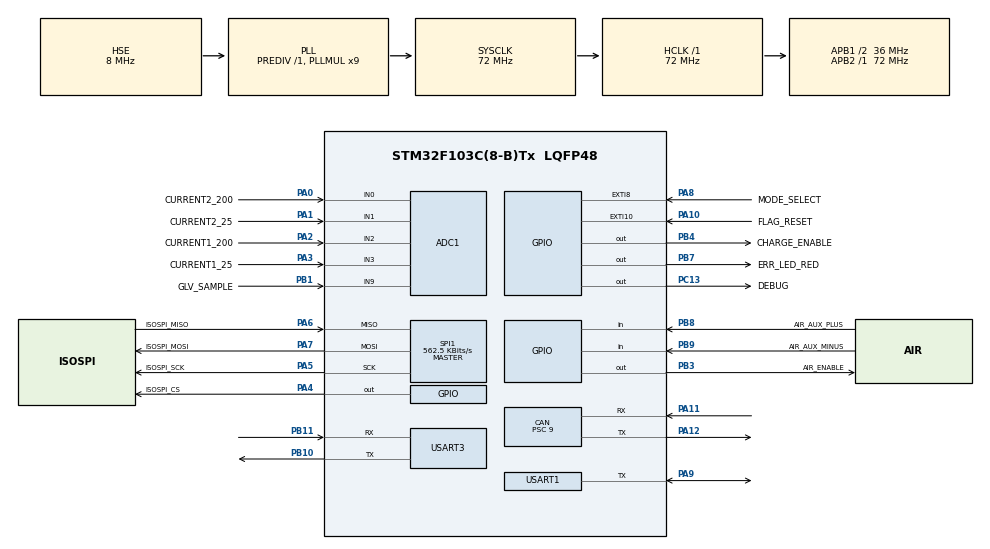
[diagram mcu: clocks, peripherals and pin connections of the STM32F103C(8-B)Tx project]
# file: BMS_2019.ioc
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ADC1.Channel-10\#ChannelRegularConversion=ADC_CHANNEL_0
ADC1.Channel-11\#ChannelRegularConversion=ADC_CHANNEL_1
ADC1.Channel-12\#ChannelRegularConversion=ADC_CHANNEL_2
ADC1.Channel-13\#ChannelRegularConversion=ADC_CHANNEL_3
ADC1.Channel-14\#ChannelRegularConversion=ADC_CHANNEL_9
ADC1.ContinuousConvMode=ENABLE
ADC1.DataAlign=ADC_DATAALIGN_RIGHT
ADC1.DiscontinuousConvMode=DISABLE
ADC1.EnableAnalogWatchDog=false
ADC1.EnableRegularConversion=ENABLE
ADC1.ExternalTrigConv=ADC_SOFTWARE_START
ADC1.InjNumberOfConversion=0
ADC1.NbrOfConversion=5
ADC1.NbrOfConversionFlag=1
ADC1.Rank-10\#ChannelRegularConversion=1
ADC1.Rank-11\#ChannelRegularConversion=2
ADC1.Rank-12\#ChannelRegularConversion=3
ADC1.Rank-13\#ChannelRegularConversion=4
ADC1.Rank-14\#ChannelRegularConversion=5
ADC1.SamplingTime-10\#ChannelRegularConversion=ADC_SAMPLETIME_239CYCLES_5
ADC1.SamplingTime-11\#ChannelRegularConversion=ADC_SAMPLETIME_239CYCLES_5
ADC1.SamplingTime-12\#ChannelRegularConversion=ADC_SAMPLETIME_239CYCLES_5
ADC1.SamplingTime-13\#ChannelRegularConversion=ADC_SAMPLETIME_239CYCLES_5
ADC1.SamplingTime-14\#ChannelRegularConversion=ADC_SAMPLETIME_239CYCLES_5
ADC1.ScanConvMode=ADC_SCAN_ENABLE
ADC1.master=1
CAN.ABOM=ENABLE
CAN.BS1=CAN_BS1_6TQ
CAN.CalculateTimeBit=2000
CAN.CalculateTimeQuantum=250.0
CAN.Prescaler=9
CAN.SJW=CAN_SJW_1TQ
Dma.ADC1.1.Direction=DMA_PERIPH_TO_MEMORY
Dma.ADC1.1.Instance=DMA1_Channel1
Dma.ADC1.1.MemDataAlignment=DMA_MDATAALIGN_WORD
Dma.ADC1.1.MemInc=DMA_MINC_ENABLE
Dma.ADC1.1.Mode=DMA_CIRCULAR
Dma.ADC1.1.PeriphDataAlignment=DMA_PDATAALIGN_WORD
Dma.ADC1.1.PeriphInc=DMA_PINC_DISABLE
Dma.ADC1.1.Priority=DMA_PRIORITY_VERY_HIGH
Dma.Request0=USART3_RX
Dma.Request1=ADC1
Dma.USART3_RX.0.Direction=DMA_PERIPH_TO_MEMORY
Dma.USART3_RX.0.Instance=DMA1_Channel3
Dma.USART3_RX.0.MemDataAlignment=DMA_MDATAALIGN_BYTE
Dma.USART3_RX.0.MemInc=DMA_MINC_ENABLE
Dma.USART3_RX.0.Mode=DMA_CIRCULAR
Dma.USART3_RX.0.PeriphDataAlignment=DMA_PDATAALIGN_BYTE
Dma.USART3_RX.0.PeriphInc=DMA_PINC_DISABLE
Dma.USART3_RX.0.Priority=DMA_PRIORITY_LOW
Mcu.Family=STM32F1
Mcu.Name=STM32F103C(8-B)Tx
Mcu.Package=LQFP48
Mcu.UserConstants=__DLC__,8
NVIC.ADC1_2_IRQn=true\:1\:0\:true\:false\:true\:true
NVIC.DMA1_Channel1_IRQn=true\:0\:0\:false\:false\:true\:false
NVIC.DMA1_Channel3_IRQn=true\:0\:0\:false\:false\:true\:false
NVIC.EXTI15_10_IRQn=true\:0\:0\:false\:false\:true\:true
NVIC.EXTI9_5_IRQn=true\:0\:0\:false\:false\:true\:true
NVIC.PriorityGroup=NVIC_PRIORITYGROUP_4
NVIC.TIM3_IRQn=true\:0\:0\:false\:false\:true\:true
NVIC.TIM4_IRQn=true\:0\:0\:false\:false\:true\:true
NVIC.USART3_IRQn=true\:0\:0\:false\:false\:true\:true
NVIC.USB_HP_CAN1_TX_IRQn=true\:0\:0\:false\:false\:true\:true
NVIC.USB_LP_CAN1_RX0_IRQn=true\:0\:0\:false\:false\:true\:true
PA0-WKUP.GPIO_Label=CURRENT2_200
PA0-WKUP.Signal=ADCx_IN0
PA1.GPIO_Label=CURRENT2_25
PA1.Signal=ADCx_IN1
PA10.GPIO_Label=FLAG_RESET
PA10.Signal=GPXTI10
PA11.Mode=Master
PA11.Signal=CAN_RX
PA12.Mode=Master
PA12.Signal=CAN_TX
PA13.Mode=Serial_Wire
PA13.Signal=SYS_JTMS-SWDIO
PA14.Mode=Serial_Wire
PA14.Signal=SYS_JTCK-SWCLK
PA2.GPIO_Label=CURRENT1_200
PA2.Signal=ADCx_IN2
PA3.GPIO_Label=CURRENT1_25
PA3.Signal=ADCx_IN3
PA4.GPIO_Label=ISOSPI_CS
PA4.GPIO_ModeDefaultOutputPP=GPIO_MODE_OUTPUT_PP
PA4.GPIO_Speed=GPIO_SPEED_FREQ_LOW
PA4.PinState=GPIO_PIN_RESET
PA4.Signal=GPIO_Output
PA5.GPIO_Label=ISOSPI_SCK
PA5.Mode=Full_Duplex_Master
PA5.Signal=SPI1_SCK
PA6.GPIO_Label=ISOSPI_MISO
PA6.GPIO_PuPd=GPIO_NOPULL
PA6.Mode=Full_Duplex_Master
PA6.Signal=SPI1_MISO
PA7.GPIO_Label=ISOSPI_MOSI
PA7.Mode=Full_Duplex_Master
PA7.Signal=SPI1_MOSI
PA8.GPIO_Label=MODE_SELECT
PA8.Signal=GPXTI8
PA9.Mode=Half_duplex(single_wire_mode)
PA9.Signal=USART1_TX
PB1.GPIO_Label=GLV_SAMPLE
PB1.Signal=ADCx_IN9
PB10.Mode=Asynchronous
PB10.Signal=USART3_TX
PB11.Mode=Asynchronous
PB11.Signal=USART3_RX
PB3.GPIO_Label=AIR_ENABLE
PB3.Signal=GPIO_Output
PB4.GPIO_Label=CHARGE_ENABLE
PB4.Signal=GPIO_Output
PB7.GPIO_Label=ERR_LED_RED
PB7.Signal=GPIO_Output
PB8.GPIO_Label=AIR_AUX_PLUS
PB8.Signal=GPIO_Input
PB9.GPIO_Label=AIR_AUX_MINUS
PB9.Signal=GPIO_Input
PC13-TAMPER-RTC.GPIO_Label=DEBUG
PC13-TAMPER-RTC.Signal=GPIO_Output
PD0-OSC_IN.GPIO_Label=OSCI
PD0-OSC_IN.Mode=HSE-External-Oscillator
PD0-OSC_IN.Signal=RCC_OSC_IN
PD1-OSC_OUT.GPIO_Label=OSCO
PD1-OSC_OUT.Mode=HSE-External-Oscillator
PD1-OSC_OUT.Signal=RCC_OSC_OUT
ProjectManager.HeapSize=0x200
ProjectManager.StackSize=0x400
ProjectManager.TargetToolchain=SW4STM32
RCC.ADCPresc=RCC_ADCPCLK2_DIV6
RCC.AHBFreq_Value=72000000
RCC.APB1CLKDivider=RCC_HCLK_DIV2
RCC.APB1Freq_Value=36000000
RCC.APB1TimFreq_Value=72000000
RCC.APB2Freq_Value=72000000
RCC.APB2TimFreq_Value=72000000
RCC.HCLKFreq_Value=72000000
RCC.PLLMUL=RCC_PLL_MUL9
RCC.PLLSourceVirtual=RCC_PLLSOURCE_HSE
RCC.SYSCLKFreq_VALUE=72000000
RCC.SYSCLKSource=RCC_SYSCLKSOURCE_PLLCLK
RCC.USBFreq_Value=72000000
SH.ADCx_IN0.0=ADC2_IN0
SH.ADCx_IN0.1=ADC1_IN0,IN0
SH.ADCx_IN1.0=ADC2_IN1
SH.ADCx_IN1.1=ADC1_IN1,IN1
SH.ADCx_IN2.0=ADC1_IN2,IN2
SH.ADCx_IN3.0=ADC1_IN3,IN3
SH.ADCx_IN9.0=ADC1_IN9,IN9
SPI1.BaudRatePrescaler=SPI_BAUDRATEPRESCALER_128
SPI1.CalculateBaudRate=562.5 KBits/s
SPI1.DataSize=SPI_DATASIZE_16BIT
SPI1.Direction=SPI_DIRECTION_2LINES
SPI1.Mode=SPI_MODE_MASTER
SPI1.VirtualType=VM_MASTER
TIM3.Period=5000
TIM3.Prescaler=7200
TIM4.Period=100
TIM4.Prescaler=720
USART1.VirtualMode=VM_ASYNC
USART3.VirtualMode=VM_ASYNC
VP_TIM3_VS_ClockSourceINT.Mode=Internal
VP_TIM4_VS_ClockSourceINT.Mode=Internal
board=BMS_2018

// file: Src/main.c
/**
  ******************************************************************************
  * @file           : main.c
  * @brief          : Main program body
  ******************************************************************************
  ** This notice applies to any and all portions of this file
  * that are not between comment pairs USER CODE BEGIN and
  * USER CODE END. Other portions of this file, whether
  * inserted by the user or by software development tools
  * are owned by their respective copyright owners.
  *
  * COPYRIGHT(c) 2019 STMicroelectronics
  *
  * Redistribution and use in source and binary forms, with or without modification,
  * are permitted provided that the following conditions are met:
  *   1. Redistributions of source code must retain the above copyright notice,
  *      this list of conditions and the following disclaimer.
  *   2. Redistributions in binary form must reproduce the above copyright notice,
  *      this list of conditions and the following disclaimer in the documentation
  *      and/or other materials provided with the distribution.
  *   3. Neither the name of STMicroelectronics nor the names of its contributors
  *      may be used to endorse or promote products derived from this software
  *      without specific prior written permission.
  *
  * THIS SOFTWARE IS PROVIDED BY THE COPYRIGHT HOLDERS AND CONTRIBUTORS "AS IS"
  * AND ANY EXPRESS OR IMPLIED WARRANTIES, INCLUDING, BUT NOT LIMITED TO, THE
  * IMPLIED WARRANTIES OF MERCHANTABILITY AND FITNESS FOR A PARTICULAR PURPOSE ARE
  * DISCLAIMED. IN NO EVENT SHALL THE COPYRIGHT HOLDER OR CONTRIBUTORS BE LIABLE
  * FOR ANY DIRECT, INDIRECT, INCIDENTAL, SPECIAL, EXEMPLARY, OR CONSEQUENTIAL
  * DAMAGES (INCLUDING, BUT NOT LIMITED TO, PROCUREMENT OF SUBSTITUTE GOODS OR
  * SERVICES; LOSS OF USE, DATA, OR PROFITS; OR BUSINESS INTERRUPTION) HOWEVER
  * CAUSED AND ON ANY THEORY OF LIABILITY, WHETHER IN CONTRACT, STRICT LIABILITY,
  * OR TORT (INCLUDING NEGLIGENCE OR OTHERWISE) ARISING IN ANY WAY OUT OF THE USE
  * OF THIS SOFTWARE, EVEN IF ADVISED OF THE POSSIBILITY OF SUCH DAMAGE.
  *
  ******************************************************************************
  */
#include "main.h"
#include "stm32f1xx_hal.h"
#include "adc.h"
#include "can.h"
#include "dma.h"
#include "spi.h"
#include "tim.h"
#include "usart.h"
#include "gpio.h"

/* USER CODE BEGIN Includes */

#include "stm32f1xx_hal.h"
#include "BMS.h"
#include <stdlib.h>
#include "dwt_stm32_delay.h"
#include "eeprom.h"
#include "nextion.h"
#include "DMA_USART.h"
#include "nextion_functions.h"

/* USER CODE END Includes */

/* USER CODE BEGIN PV */
/* Private variables ---------------------------------------------------------*/

//static float CURRENT_ZERO[4] = {2250, 2990, 2396, 2396};
//static const float CURRENT_GAIN[4] = {1.22, 1.52, 1.22, 1.22};
static float CURRENT_ZERO[4] = {2223, 2750, 2223, 2227};
static const float CURRENT_GAIN[4] = {1.22, 1.51, 1.22, 1.22};
ErrorStatus  HSEStartUpStatus;
HAL_StatusTypeDef FlashStatus;

BMS_struct* BMS;
int32_t ADC_BUF[5];
uint32_t adc_time;
uint8_t mode_button = 0, debounce_flag, accept_flag, accept_time, debounce_time, mode;
uint16_t VirtAddVarTab[NumbOfVar] = {0x5555, 0x6666, 0x7777};

extern DMA_HandleTypeDef hdma_usart3_rx;

/* USER CODE END PV */

void SystemClock_Config(void);

/* USER CODE BEGIN PFP */
/* Private function prototypes -----------------------------------------------*/

/* USER CODE END PFP */

/* USER CODE BEGIN 0 */

#define FILTER_GAIN 255

int aux = 0;

float filter(float old, float new){
	return (FILTER_GAIN * old + new) / (FILTER_GAIN + 1);
}

void HAL_ADC_ConvCpltCallback(ADC_HandleTypeDef * hadc)
{

	for(uint8_t i = 0; i < 4; i++){

		//CURRENT_ZERO[i] = ((float)ADC_BUF[i] * (float)CURRENT_GAIN[i]);

		BMS->c_adc[i] = filter((float)BMS->c_adc[i], (float)ADC_BUF[i]);

		BMS->current[i] = filter(BMS->current[i], ((float)ADC_BUF[i] * CURRENT_GAIN[i]) - CURRENT_ZERO[i]);//		BMS->current[i] = filter(BMS->current[i], (ADC_BUF[i]));

	}
	BMS->v_GLV = filter(BMS->v_GLV , ((float)(ADC_BUF[4] + 400) * 4.5));

}

/* USER CODE END 0 */

int main(void)
{

  /* MCU Configuration----------------------------------------------------------*/

  /* Reset of all peripherals, Initializes the Flash interface and the Systick. */
  HAL_Init();

  /* Configure the system clock */
  SystemClock_Config();

  /* Initialize all configured peripherals */
  MX_GPIO_Init();
  MX_DMA_Init();
  MX_ADC1_Init();
  MX_CAN_Init();
  MX_SPI1_Init();
  MX_TIM3_Init();
  MX_USART1_UART_Init();
  MX_TIM4_Init();
  MX_USART3_UART_Init();
  /* USER CODE BEGIN 2 */

	HAL_FLASH_Unlock();
	EE_Init();

	DWT_Delay_Init();

	HAL_ADC_Start_DMA(&hadc1, (uint32_t* )ADC_BUF, 5);
	USART_DMA_Init(&huart3, &hdma_usart3_rx);

	HAL_TIM_Base_Start_IT(&htim3);
	HAL_TIM_Base_Start_IT(&htim4);

	BMS = (BMS_struct*) calloc(1, sizeof(BMS_struct));
	BMS_init(BMS);

	DWT_Delay_us(50000);

	HAL_GPIO_WritePin(CHARGE_ENABLE_GPIO_Port, CHARGE_ENABLE_Pin, 1);

	NexPageShow(1);

  /* USER CODE END 2 */

  /* Infinite loop */
  /* USER CODE BEGIN WHILE */

	while (1)
	{
		BMS_monitoring(BMS);
		BMS_error(BMS);
		BMS_can(BMS);
		nexLoop(BMS);

  /* USER CODE END WHILE */

	}

}

void SystemClock_Config(void)
{

  RCC_OscInitTypeDef RCC_OscInitStruct;
  RCC_ClkInitTypeDef RCC_ClkInitStruct;
  RCC_PeriphCLKInitTypeDef PeriphClkInit;

    /**Initializes the CPU, AHB and APB busses clocks
    */
  RCC_OscInitStruct.OscillatorType = RCC_OSCILLATORTYPE_HSE;
  RCC_OscInitStruct.HSEState = RCC_HSE_ON;
  RCC_OscInitStruct.HSEPredivValue = RCC_HSE_PREDIV_DIV1;
  RCC_OscInitStruct.HSIState = RCC_HSI_ON;
  RCC_OscInitStruct.PLL.PLLState = RCC_PLL_ON;
  RCC_OscInitStruct.PLL.PLLSource = RCC_PLLSOURCE_HSE;
  RCC_OscInitStruct.PLL.PLLMUL = RCC_PLL_MUL9;
  if (HAL_RCC_OscConfig(&RCC_OscInitStruct) != HAL_OK)
  {
    _Error_Handler(__FILE__, __LINE__);
  }

    /**Initializes the CPU, AHB and APB busses clocks
    */
  RCC_ClkInitStruct.ClockType = RCC_CLOCKTYPE_HCLK|RCC_CLOCKTYPE_SYSCLK
                              |RCC_CLOCKTYPE_PCLK1|RCC_CLOCKTYPE_PCLK2;
  RCC_ClkInitStruct.SYSCLKSource = RCC_SYSCLKSOURCE_PLLCLK;
  RCC_ClkInitStruct.AHBCLKDivider = RCC_SYSCLK_DIV1;
  RCC_ClkInitStruct.APB1CLKDivider = RCC_HCLK_DIV2;
  RCC_ClkInitStruct.APB2CLKDivider = RCC_HCLK_DIV1;

  if (HAL_RCC_ClockConfig(&RCC_ClkInitStruct, FLASH_LATENCY_2) != HAL_OK)
  {
    _Error_Handler(__FILE__, __LINE__);
  }

  PeriphClkInit.PeriphClockSelection = RCC_PERIPHCLK_ADC;
  PeriphClkInit.AdcClockSelection = RCC_ADCPCLK2_DIV6;
  if (HAL_RCCEx_PeriphCLKConfig(&PeriphClkInit) != HAL_OK)
  {
    _Error_Handler(__FILE__, __LINE__);
  }

    /**Configure the Systick interrupt time
    */
  HAL_SYSTICK_Config(HAL_RCC_GetHCLKFreq()/1000);

    /**Configure the Systick
    */
  HAL_SYSTICK_CLKSourceConfig(SYSTICK_CLKSOURCE_HCLK);

  /* SysTick_IRQn interrupt configuration */
  HAL_NVIC_SetPriority(SysTick_IRQn, 0, 0);
}

void _Error_Handler(char *file, int line)
{
	while(1)
	{
	}
}

/************************ (C) COPYRIGHT STMicroelectronics *****END OF FILE****/
